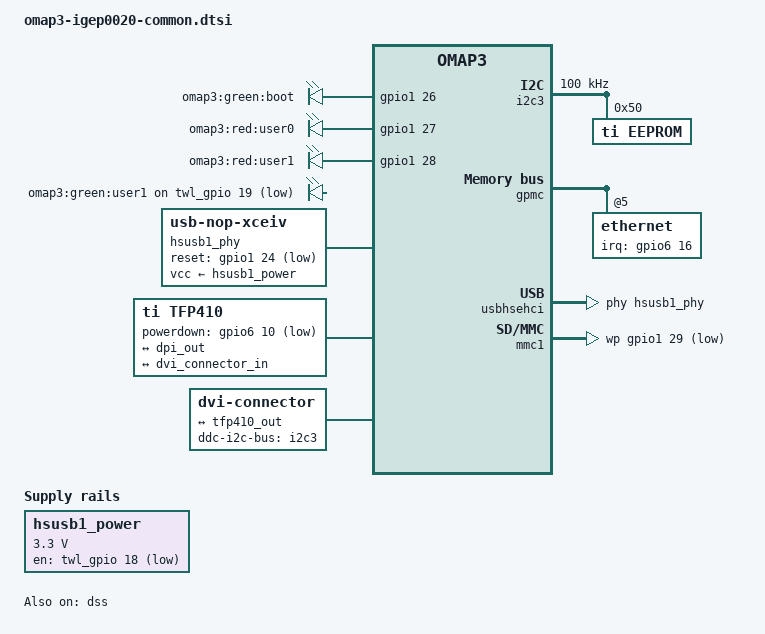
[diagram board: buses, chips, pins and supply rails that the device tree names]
// SPDX-License-Identifier: GPL-2.0-only
/*
 * Common Device Tree Source for IGEPv2
 *
 * Copyright (C) 2014 Javier Martinez Canillas <javier@osg.samsung.com>
 * Copyright (C) 2014 Enric Balletbo i Serra <eballetbo@gmail.com>
 */

#include "omap3-igep.dtsi"
#include "omap-gpmc-smsc9221.dtsi"

/ {

	leds {
		pinctrl-names = "default";
		pinctrl-0 = <&leds_pins>;
		compatible = "gpio-leds";

		boot {
			 label = "omap3:green:boot";
			 gpios = <&gpio1 26 GPIO_ACTIVE_HIGH>;
			 default-state = "on";
		};

		user0 {
			 label = "omap3:red:user0";
			 gpios = <&gpio1 27 GPIO_ACTIVE_HIGH>;
			 default-state = "off";
		};

		user1 {
			 label = "omap3:red:user1";
			 gpios = <&gpio1 28 GPIO_ACTIVE_HIGH>;
			 default-state = "off";
		};

		user2 {
			label = "omap3:green:user1";
			gpios = <&twl_gpio 19 GPIO_ACTIVE_LOW>;
		};
	};

	/* HS USB Port 1 Power */
	hsusb1_power: hsusb1_power_reg {
		compatible = "regulator-fixed";
		regulator-name = "hsusb1_vbus";
		regulator-min-microvolt = <3300000>;
		regulator-max-microvolt = <3300000>;
		gpio = <&twl_gpio 18 GPIO_ACTIVE_LOW>;	/* GPIO LEDA */
		startup-delay-us = <70000>;
	};

	/* HS USB Host PHY on PORT 1 */
	hsusb1_phy: hsusb1_phy {
		compatible = "usb-nop-xceiv";
		reset-gpios = <&gpio1 24 GPIO_ACTIVE_LOW>; /* gpio_24 */
		vcc-supply = <&hsusb1_power>;
		#phy-cells = <0>;
	};

	tfp410: encoder {
		compatible = "ti,tfp410";
		powerdown-gpios = <&gpio6 10 GPIO_ACTIVE_LOW>; /* gpio_170 */

		ports {
			#address-cells = <1>;
			#size-cells = <0>;

			port@0 {
				reg = <0>;

				tfp410_in: endpoint {
					remote-endpoint = <&dpi_out>;
				};
			};

			port@1 {
				reg = <1>;

				tfp410_out: endpoint {
					remote-endpoint = <&dvi_connector_in>;
				};
			};
		};
	};

	dvi0: connector {
		compatible = "dvi-connector";
		label = "dvi";

		digital;

		ddc-i2c-bus = <&i2c3>;

		port {
			dvi_connector_in: endpoint {
				remote-endpoint = <&tfp410_out>;
			};
		};
	};
};

&omap3_pmx_core {
	pinctrl-names = "default";
	pinctrl-0 = <
		&tfp410_pins
		&dss_dpi_pins
	>;

	tfp410_pins: pinmux_tfp410_pins {
		pinctrl-single,pins = <
			OMAP3_CORE1_IOPAD(0x21c6, PIN_OUTPUT | MUX_MODE4)   /* hdq_sio.gpio_170 */
		>;
	};

	dss_dpi_pins: pinmux_dss_dpi_pins {
		pinctrl-single,pins = <
			OMAP3_CORE1_IOPAD(0x20d4, PIN_OUTPUT | MUX_MODE0)   /* dss_pclk.dss_pclk */
			OMAP3_CORE1_IOPAD(0x20d6, PIN_OUTPUT | MUX_MODE0)   /* dss_hsync.dss_hsync */
			OMAP3_CORE1_IOPAD(0x20d8, PIN_OUTPUT | MUX_MODE0)   /* dss_vsync.dss_vsync */
			OMAP3_CORE1_IOPAD(0x20da, PIN_OUTPUT | MUX_MODE0)   /* dss_acbias.dss_acbias */
			OMAP3_CORE1_IOPAD(0x20dc, PIN_OUTPUT | MUX_MODE0)   /* dss_data0.dss_data0 */
			OMAP3_CORE1_IOPAD(0x20de, PIN_OUTPUT | MUX_MODE0)   /* dss_data1.dss_data1 */
			OMAP3_CORE1_IOPAD(0x20e0, PIN_OUTPUT | MUX_MODE0)   /* dss_data2.dss_data2 */
			OMAP3_CORE1_IOPAD(0x20e2, PIN_OUTPUT | MUX_MODE0)   /* dss_data3.dss_data3 */
			OMAP3_CORE1_IOPAD(0x20e4, PIN_OUTPUT | MUX_MODE0)   /* dss_data4.dss_data4 */
			OMAP3_CORE1_IOPAD(0x20e6, PIN_OUTPUT | MUX_MODE0)   /* dss_data5.dss_data5 */
			OMAP3_CORE1_IOPAD(0x20e8, PIN_OUTPUT | MUX_MODE0)   /* dss_data6.dss_data6 */
			OMAP3_CORE1_IOPAD(0x20ea, PIN_OUTPUT | MUX_MODE0)   /* dss_data7.dss_data7 */
			OMAP3_CORE1_IOPAD(0x20ec, PIN_OUTPUT | MUX_MODE0)   /* dss_data8.dss_data8 */
			OMAP3_CORE1_IOPAD(0x20ee, PIN_OUTPUT | MUX_MODE0)   /* dss_data9.dss_data9 */
			OMAP3_CORE1_IOPAD(0x20f0, PIN_OUTPUT | MUX_MODE0)   /* dss_data10.dss_data10 */
			OMAP3_CORE1_IOPAD(0x20f2, PIN_OUTPUT | MUX_MODE0)   /* dss_data11.dss_data11 */
			OMAP3_CORE1_IOPAD(0x20f4, PIN_OUTPUT | MUX_MODE0)   /* dss_data12.dss_data12 */
			OMAP3_CORE1_IOPAD(0x20f6, PIN_OUTPUT | MUX_MODE0)   /* dss_data13.dss_data13 */
			OMAP3_CORE1_IOPAD(0x20f8, PIN_OUTPUT | MUX_MODE0)   /* dss_data14.dss_data14 */
			OMAP3_CORE1_IOPAD(0x20fa, PIN_OUTPUT | MUX_MODE0)   /* dss_data15.dss_data15 */
			OMAP3_CORE1_IOPAD(0x20fc, PIN_OUTPUT | MUX_MODE0)   /* dss_data16.dss_data16 */
			OMAP3_CORE1_IOPAD(0x20fe, PIN_OUTPUT | MUX_MODE0)   /* dss_data17.dss_data17 */
			OMAP3_CORE1_IOPAD(0x2100, PIN_OUTPUT | MUX_MODE0)   /* dss_data18.dss_data18 */
			OMAP3_CORE1_IOPAD(0x2102, PIN_OUTPUT | MUX_MODE0)   /* dss_data19.dss_data19 */
			OMAP3_CORE1_IOPAD(0x2104, PIN_OUTPUT | MUX_MODE0)   /* dss_data20.dss_data20 */
			OMAP3_CORE1_IOPAD(0x2106, PIN_OUTPUT | MUX_MODE0)   /* dss_data21.dss_data21 */
			OMAP3_CORE1_IOPAD(0x2108, PIN_OUTPUT | MUX_MODE0)   /* dss_data22.dss_data22 */
			OMAP3_CORE1_IOPAD(0x210a, PIN_OUTPUT | MUX_MODE0)   /* dss_data23.dss_data23 */
		>;
	};

	uart2_pins: pinmux_uart2_pins {
		pinctrl-single,pins = <
			OMAP3_CORE1_IOPAD(0x2174, PIN_INPUT | MUX_MODE0)	/* uart2_cts.uart2_cts */
			OMAP3_CORE1_IOPAD(0x2176, PIN_OUTPUT | MUX_MODE0)	/* uart2_rts .uart2_rts*/
			OMAP3_CORE1_IOPAD(0x2178, PIN_OUTPUT | MUX_MODE0)	/* uart2_tx.uart2_tx */
			OMAP3_CORE1_IOPAD(0x217a, PIN_INPUT | MUX_MODE0)	/* uart2_rx.uart2_rx */
		>;
	};

	smsc9221_pins: pinmux_smsc9221_pins {
		pinctrl-single,pins = <
			OMAP3_CORE1_IOPAD(0x21d2, PIN_INPUT | MUX_MODE4)	/* mcspi1_cs2.gpio_176 */
		>;
	};
};

&omap3_pmx_core2 {
	pinctrl-names = "default";
	pinctrl-0 = <
		&hsusbb1_pins
	>;

	hsusbb1_pins: pinmux_hsusbb1_pins {
		pinctrl-single,pins = <
			OMAP3630_CORE2_IOPAD(0x25da, PIN_OUTPUT | MUX_MODE3)		/* etk_ctl.hsusb1_clk */
			OMAP3630_CORE2_IOPAD(0x25d8, PIN_OUTPUT | MUX_MODE3)		/* etk_clk.hsusb1_stp */
			OMAP3630_CORE2_IOPAD(0x25ec, PIN_INPUT_PULLDOWN | MUX_MODE3)	/* etk_d8.hsusb1_dir */
			OMAP3630_CORE2_IOPAD(0x25ee, PIN_INPUT_PULLDOWN | MUX_MODE3)	/* etk_d9.hsusb1_nxt */
			OMAP3630_CORE2_IOPAD(0x25dc, PIN_INPUT_PULLDOWN | MUX_MODE3)	/* etk_d0.hsusb1_data0 */
			OMAP3630_CORE2_IOPAD(0x25de, PIN_INPUT_PULLDOWN | MUX_MODE3)	/* etk_d1.hsusb1_data1 */
			OMAP3630_CORE2_IOPAD(0x25e0, PIN_INPUT_PULLDOWN | MUX_MODE3)	/* etk_d2.hsusb1_data2 */
			OMAP3630_CORE2_IOPAD(0x25e2, PIN_INPUT_PULLDOWN | MUX_MODE3)	/* etk_d3.hsusb1_data7 */
			OMAP3630_CORE2_IOPAD(0x25e4, PIN_INPUT_PULLDOWN | MUX_MODE3)	/* etk_d4.hsusb1_data4 */
			OMAP3630_CORE2_IOPAD(0x25e6, PIN_INPUT_PULLDOWN | MUX_MODE3)	/* etk_d5.hsusb1_data5 */
			OMAP3630_CORE2_IOPAD(0x25e8, PIN_INPUT_PULLDOWN | MUX_MODE3)	/* etk_d6.hsusb1_data6 */
			OMAP3630_CORE2_IOPAD(0x25ea, PIN_INPUT_PULLDOWN | MUX_MODE3)	/* etk_d7.hsusb1_data3 */
		>;
	};

	leds_pins: pinmux_leds_pins {
		pinctrl-single,pins = <
			OMAP3630_CORE2_IOPAD(0x25f4, PIN_OUTPUT | MUX_MODE4) /* etk_d12.gpio_26 */
			OMAP3630_CORE2_IOPAD(0x25f6, PIN_OUTPUT | MUX_MODE4) /* etk_d13.gpio_27 */
			OMAP3630_CORE2_IOPAD(0x25f8, PIN_OUTPUT | MUX_MODE4) /* etk_d14.gpio_28 */
		>;
	};

	mmc1_wp_pins: pinmux_mmc1_cd_pins {
		pinctrl-single,pins = <
			OMAP3630_CORE2_IOPAD(0x25fa, PIN_INPUT | MUX_MODE4)   /* etk_d15.gpio_29 */
		>;
	};
};

&i2c3 {
	clock-frequency = <100000>;

	/*
	 * Display monitor features are burnt in the EEPROM
	 * as EDID data.
	 */
	eeprom@50 {
		compatible = "ti,eeprom";
		reg = <0x50>;
	};
};

&gpmc {
	ranges = <0 0 0x30000000 0x01000000>,	/* CS0: 16MB for NAND */
		 <5 0 0x2c000000 0x01000000>;	/* CS5: 16MB for ethernet */

	ethernet@gpmc {
		pinctrl-names = "default";
		pinctrl-0 = <&smsc9221_pins>;
		reg = <5 0 0xff>;
		interrupt-parent = <&gpio6>;
		interrupts = <16 IRQ_TYPE_LEVEL_LOW>;
	};
};

&uart2 {
	pinctrl-names = "default";
	pinctrl-0 = <&uart2_pins>;
};

&usbhshost {
	port1-mode = "ehci-phy";
};

&usbhsehci {
	phys = <&hsusb1_phy>;
};

&vpll2 {
	/* Needed for DSS */
	regulator-name = "vdds_dsi";
};

&dss {
	status = "ok";

	port {
		dpi_out: endpoint {
			remote-endpoint = <&tfp410_in>;
			data-lines = <24>;
		};
	};
};

&mmc1 {
	pinctrl-0 = <&mmc1_pins &mmc1_wp_pins>;
	wp-gpios = <&gpio1 29 GPIO_ACTIVE_LOW>;	/* gpio_29 */
};
